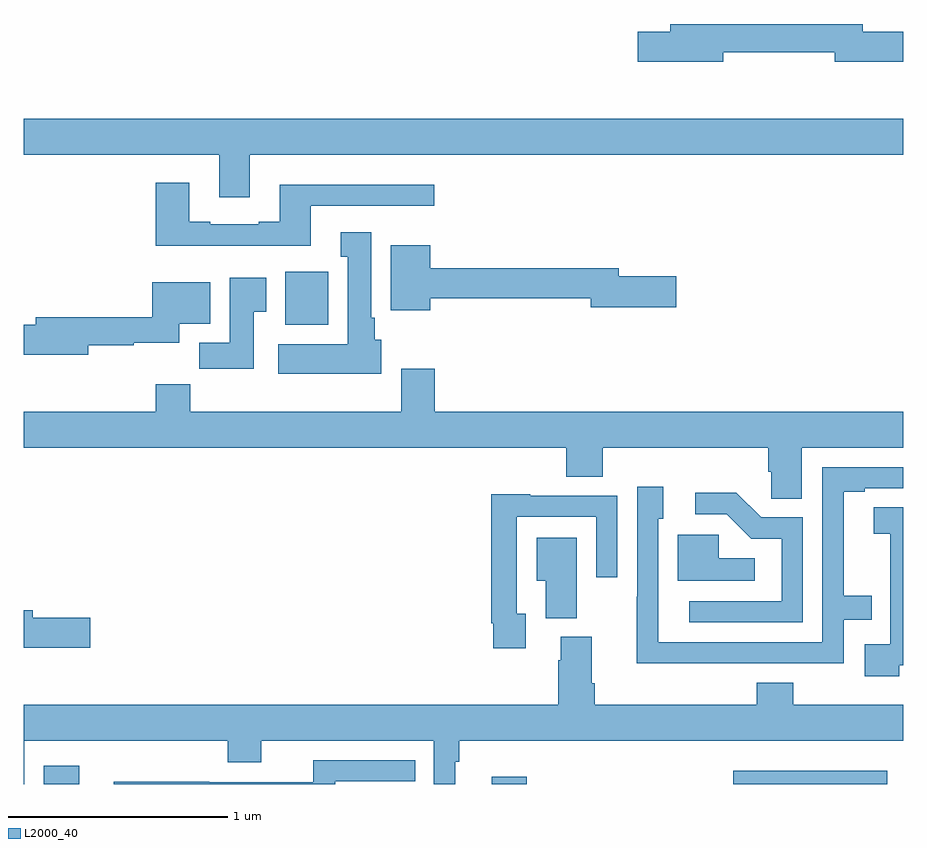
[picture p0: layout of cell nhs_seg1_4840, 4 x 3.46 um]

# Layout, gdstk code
import gdstk
lib = gdstk.Library(unit=1e-6, precision=1e-09)
def R(c, l, rs):  # rectangles x0, y0, x1, y1
    for r in rs: c.add(gdstk.rectangle(r[:2], r[2:], *l))
def P(c, l, *ps):  # polygons
    for p in ps: c.add(gdstk.Polygon(p, *l))
L2000_40 = (2000, 40)

nhs_seg1_4840 = lib.new_cell('nhs_seg1_4840')
R(nhs_seg1_4840, L2000_40, [(373.092,554.199,373.253,554.281), (375.128,554.199,375.287,554.233), (376.227,554.199,376.927,554.26), (374.189,556.286,374.386,556.528)])
P(nhs_seg1_4840, L2000_40, [(376.18,557.526),(376.688,557.526),(376.688,557.483),(377,557.483),(377,557.618),(376.816,557.618),(376.816,557.654),(375.941,557.654),(375.941,557.618),(375.792,557.618),(375.792,557.483),(376.18,557.483)],
  [(374.029,557.06),(377,557.06),(377,557.224),(373,557.224),(373,557.06),(373.889,557.06),(373.889,556.866),(374.029,556.866)],
  [(374.305,556.827),(374.866,556.827),(374.866,556.924),(374.165,556.924),(374.165,556.756),(374.069,556.756),(374.069,556.743),(373.849,556.743),(373.849,556.756),(373.753,556.756),(373.753,556.933),(373.601,556.933),(373.601,556.646),(374.305,556.646)],
  [(374.626,556.218),(374.596,556.218),(374.596,556.318),(374.581,556.318),(374.581,556.708),(374.441,556.708),(374.441,556.595),(374.474,556.595),(374.474,556.198),(374.157,556.198),(374.157,556.064),(374.626,556.064)],
  [(374.848,556.408),(375.578,556.408),(375.578,556.366),(375.967,556.366),(375.967,556.508),(375.706,556.508),(375.706,556.544),(374.848,556.544),(374.848,556.648),(374.669,556.648),(374.669,556.352),(374.848,556.352)],
  [(374.047,556.345),(374.104,556.345),(374.104,556.501),(373.937,556.501),(373.937,556.204),(373.798,556.204),(373.798,556.086),(374.047,556.086)],
  [(373.294,556.194),(373.502,556.194),(373.502,556.205),(373.708,556.205),(373.708,556.292),(373.849,556.292),(373.849,556.48),(373.586,556.48),(373.586,556.322),(373.055,556.322),(373.055,556.286),(373,556.286),(373,556.151),(373.294,556.151)],
  [(376.537,555.728),(377,555.728),(377,555.892),(374.87,555.892),(374.87,556.087),(374.717,556.087),(374.717,555.892),(373.757,555.892),(373.757,556.016),(373.601,556.016),(373.601,555.892),(373,555.892),(373,555.728),(375.467,555.728),(375.467,555.595),(375.632,555.595),(375.632,555.728),(376.385,555.728),(376.385,555.619),(376.398,555.619),(376.398,555.496),(376.537,555.496)],
  [(376.25,554.748),(376.728,554.748),(376.728,554.946),(376.856,554.946),(376.856,555.055),(376.729,555.055),(376.729,555.528),(376.825,555.528),(376.825,555.543),(377,555.543),(377,555.639),(376.632,555.639),(376.632,554.844),(375.885,554.844),(375.885,555.405),(375.907,555.405),(375.907,555.55),(375.789,555.55),(375.789,555.05),(375.788,555.05),(375.788,554.747),(376.25,554.747)],
  [(376.542,555.411),(376.353,555.411),(376.24,555.524),(376.053,555.524),(376.053,555.426),(376.197,555.426),(376.308,555.315),(376.446,555.315),(376.446,555.03),(376.026,555.03),(376.026,554.934),(376.542,554.934)],
  [(375.283,554.973),(375.243,554.973),(375.243,555.414),(375.603,555.414),(375.603,555.138),(375.699,555.138),(375.699,555.51),(375.303,555.51),(375.303,555.517),(375.127,555.517),(375.127,554.929),(375.135,554.929),(375.135,554.817),(375.283,554.817)],
  [(376.98,554.739),(377,554.739),(377,555.458),(376.866,555.458),(376.866,555.337),(376.94,555.337),(376.94,555.139),(376.941,555.139),(376.941,554.835),(376.824,554.835),(376.824,554.688),(376.98,554.688)],
  [(376.324,555.226),(376.161,555.226),(376.161,555.333),(375.974,555.333),(375.974,555.122),(376.324,555.122)],
  [(375.514,555.319),(375.332,555.319),(375.332,555.122),(375.374,555.122),(375.374,554.953),(375.514,554.953)],
  [(373.303,554.954),(373.042,554.954),(373.042,554.99),(373,554.99),(373,554.819),(373.303,554.819)],
  [(373.003,554.396),(373.928,554.396),(373.928,554.297),(374.08,554.297),(374.08,554.396),(374.865,554.396),(374.865,554.199),(374.962,554.199),(374.962,554.3),(374.981,554.3),(374.981,554.396),(377,554.396),(377,554.56),(376.499,554.56),(376.499,554.659),(376.334,554.659),(376.334,554.56),(375.596,554.56),(375.596,554.656),(375.583,554.656),(375.583,554.868),(375.443,554.868),(375.443,554.762),(375.431,554.762),(375.431,554.56),(373,554.56),(373,554.199),(373.003,554.199)],
  [(374.416,554.211),(374.78,554.211),(374.78,554.307),(374.317,554.307),(374.317,554.208),(373.844,554.208),(373.844,554.21),(373.41,554.21),(373.41,554.199),(374.416,554.199)])

lib.write_gds('nhs_seg1_4840.gds')
